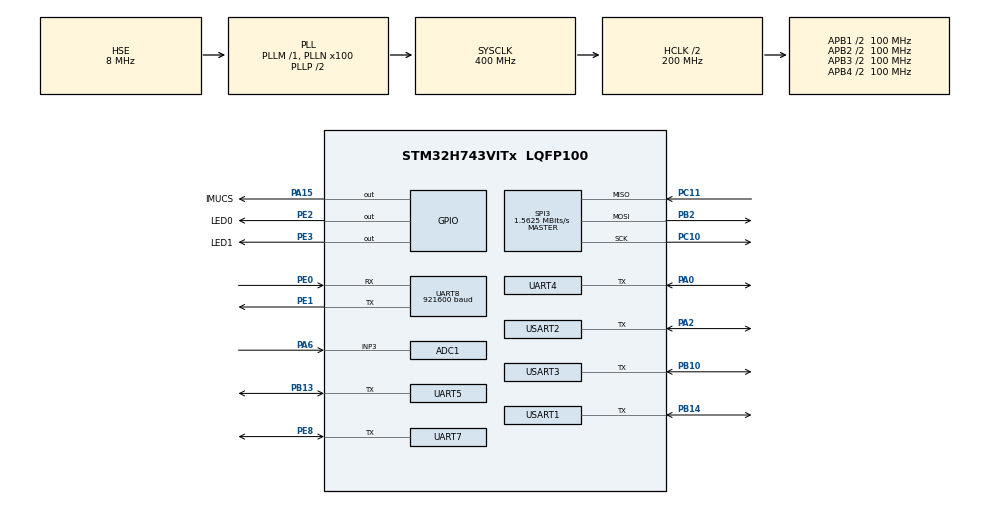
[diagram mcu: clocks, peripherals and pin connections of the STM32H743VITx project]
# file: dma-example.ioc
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ADC1.Channel-0\#ChannelRegularConversion=ADC_CHANNEL_3
ADC1.ClockPrescaler=ADC_CLOCK_ASYNC_DIV6
ADC1.NbrOfConversionFlag=1
ADC1.OffsetNumber-0\#ChannelRegularConversion=ADC_OFFSET_NONE
ADC1.Rank-0\#ChannelRegularConversion=1
ADC1.SamplingTime-0\#ChannelRegularConversion=ADC_SAMPLETIME_1CYCLE_5
ADC1.master=1
CORTEX_M7.CPU_DCache=Enabled
CORTEX_M7.CPU_ICache=Enabled
Dma.Request0=UART8_RX
Dma.UART8_RX.0.Direction=DMA_PERIPH_TO_MEMORY
Dma.UART8_RX.0.EventEnable=DISABLE
Dma.UART8_RX.0.FIFOMode=DMA_FIFOMODE_DISABLE
Dma.UART8_RX.0.Instance=DMA1_Stream0
Dma.UART8_RX.0.MemDataAlignment=DMA_MDATAALIGN_BYTE
Dma.UART8_RX.0.MemInc=DMA_MINC_ENABLE
Dma.UART8_RX.0.Mode=DMA_CIRCULAR
Dma.UART8_RX.0.PeriphDataAlignment=DMA_PDATAALIGN_BYTE
Dma.UART8_RX.0.PeriphInc=DMA_PINC_DISABLE
Dma.UART8_RX.0.Polarity=HAL_DMAMUX_REQ_GEN_RISING
Dma.UART8_RX.0.Priority=DMA_PRIORITY_MEDIUM
Dma.UART8_RX.0.RequestNumber=1
Dma.UART8_RX.0.SignalID=NONE
Dma.UART8_RX.0.SyncEnable=DISABLE
Dma.UART8_RX.0.SyncPolarity=HAL_DMAMUX_SYNC_NO_EVENT
Dma.UART8_RX.0.SyncRequestNumber=1
Dma.UART8_RX.0.SyncSignalID=NONE
FREERTOS.MEMORY_ALLOCATION=0
FREERTOS.Queues01=J1vectorqueue,1,pvector,0,Dynamic,NULL,NULL;J2vectorqueue,1,pvector,0,Dynamic,NULL,NULL;J3vectorqueue,1,pvector,0,Dynamic,NULL,NULL;J4vectorqueue,1,pvector,0,Dynamic,NULL,NULL;J5vectorqueue,1,pvector,0,Dynamic,NULL,NULL;J6vectorqueue,1,pvector,0,Dynamic,NULL,NULL
FREERTOS.Tasks01=idleTask,-3,128,StartidleTask,As weak,NULL,Dynamic,NULL,NULL;LED1Task,-3,128,StartLED1Task,As weak,NULL,Dynamic,NULL,NULL;LED2Task,-3,128,StartLED2Task,As weak,NULL,Dynamic,NULL,NULL;J1uartport,-3,128,StartJ1uartport,As weak,NULL,Dynamic,NULL,NULL;J2uartport,-3,128,StartJ2uartport,As weak,NULL,Dynamic,NULL,NULL;J3uartport,-3,128,StartJ3uartport,As weak,NULL,Dynamic,NULL,NULL;J4uartport,-3,128,StartJ4uartport,As weak,NULL,Dynamic,NULL,NULL;J5uartport,-3,128,StartJ5uartport,As weak,NULL,Dynamic,NULL,NULL;J6uartport,-3,128,StartJ6uartport,As weak,NULL,Dynamic,NULL,NULL;ImuTask,-3,128,StartImuTask,As weak,NULL,Dynamic,NULL,NULL;ADCTask,-3,128,StartADCTask,As weak,NULL,Dynamic,NULL,NULL
Mcu.Family=STM32H7
Mcu.Name=STM32H743VITx
Mcu.Package=LQFP100
NVIC.PriorityGroup=NVIC_PRIORITYGROUP_4
NVIC.TIM4_IRQn=true\:0\:0\:false\:false\:true\:false\:false\:true
NVIC.TimeBase=TIM4_IRQn
NVIC.TimeBaseIP=TIM4
PA0.GPIO_PuPd=GPIO_PULLDOWN
PA0.GPIO_Speed=GPIO_SPEED_FREQ_HIGH
PA0.Mode=Half_duplex(single_wire_mode)
PA0.Signal=UART4_TX
PA15\ (JTDI).GPIO_Label=IMUCS
PA15\ (JTDI).Signal=GPIO_Output
PA2.GPIO_PuPd=GPIO_PULLDOWN
PA2.GPIO_Speed=GPIO_SPEED_FREQ_HIGH
PA2.Mode=Half_duplex(single_wire_mode)
PA2.Signal=USART2_TX
PA6.Signal=ADCx_INP3
PB10.GPIO_PuPd=GPIO_PULLDOWN
PB10.GPIO_Speed=GPIO_SPEED_FREQ_HIGH
PB10.Mode=Half_duplex(single_wire_mode)
PB10.Signal=USART3_TX
PB13.GPIO_PuPd=GPIO_PULLDOWN
PB13.GPIO_Speed=GPIO_SPEED_FREQ_HIGH
PB13.Mode=Half_duplex(single_wire_mode)
PB13.Signal=UART5_TX
PB14.GPIO_PuPd=GPIO_PULLDOWN
PB14.GPIO_Speed=GPIO_SPEED_FREQ_HIGH
PB14.Mode=Half_duplex(single_wire_mode)
PB14.Signal=USART1_TX
PB2.Mode=Full_Duplex_Master
PB2.Signal=SPI3_MOSI
PC10.Mode=Full_Duplex_Master
PC10.Signal=SPI3_SCK
PC11.Mode=Full_Duplex_Master
PC11.Signal=SPI3_MISO
PE0.GPIO_Speed=GPIO_SPEED_FREQ_VERY_HIGH
PE0.Mode=Asynchronous
PE0.Signal=UART8_RX
PE1.GPIO_Speed=GPIO_SPEED_FREQ_VERY_HIGH
PE1.Mode=Asynchronous
PE1.Signal=UART8_TX
PE2.GPIO_Label=LED0
PE2.GPIO_ModeDefaultOutputPP=GPIO_MODE_OUTPUT_OD
PE2.Signal=GPIO_Output
PE3.GPIO_Label=LED1
PE3.GPIO_ModeDefaultOutputPP=GPIO_MODE_OUTPUT_OD
PE3.Signal=GPIO_Output
PE8.GPIO_PuPd=GPIO_PULLDOWN
PE8.GPIO_Speed=GPIO_SPEED_FREQ_HIGH
PE8.Mode=Half_duplex(single_wire_mode)
PE8.Signal=UART7_TX
PH0-OSC_IN\ (PH0).Mode=HSE-External-Oscillator
PH0-OSC_IN\ (PH0).Signal=RCC_OSC_IN
PH1-OSC_OUT\ (PH1).Mode=HSE-External-Oscillator
PH1-OSC_OUT\ (PH1).Signal=RCC_OSC_OUT
ProjectManager.HeapSize=0x200
ProjectManager.StackSize=0x400
ProjectManager.TargetToolchain=STM32CubeIDE
RCC.ADCFreq_Value=152000000
RCC.APB1Freq_Value=100000000
RCC.APB2Freq_Value=100000000
RCC.APB3Freq_Value=100000000
RCC.APB4Freq_Value=100000000
RCC.CortexFreq_Value=400000000
RCC.D1PPRE=RCC_APB3_DIV2
RCC.D2PPRE1=RCC_APB1_DIV2
RCC.D2PPRE2=RCC_APB2_DIV2
RCC.D3PPRE=RCC_APB4_DIV2
RCC.DIVM1=1
RCC.DIVM2=1
RCC.DIVN1=100
RCC.DIVN2=19
RCC.DIVP2=1
RCC.FLatency=FLASH_LATENCY_2
RCC.HCLKFreq_Value=200000000
RCC.HPRE=RCC_HCLK_DIV2
RCC.HSE_VALUE=8000000
RCC.PLLSourceVirtual=RCC_PLLSOURCE_HSE
RCC.PWR_Regulator_Voltage_Scale=PWR_REGULATOR_VOLTAGE_SCALE1
RCC.SYSCLKFreq_VALUE=400000000
RCC.SYSCLKSource=RCC_SYSCLKSOURCE_PLLCLK
RCC.USBFreq_Value=400000000
SH.ADCx_INP3.0=ADC1_INP3,IN3-Single-Ended
SPI3.BaudRatePrescaler=SPI_BAUDRATEPRESCALER_256
SPI3.CalculateBaudRate=1.5625 MBits/s
SPI3.DataSize=SPI_DATASIZE_8BIT
SPI3.Direction=SPI_DIRECTION_2LINES
SPI3.Mode=SPI_MODE_MASTER
SPI3.VirtualType=VM_MASTER
UART4.BaudRate=1250000
UART4.FIFOMode=FIFOMODE_ENABLE
UART4.Parity=PARITY_EVEN
UART4.RXFIFOThreshold=RXFIFO_THRESHOLD_FULL
UART4.WordLength=WORDLENGTH_9B
UART5.BaudRate=1250000
UART5.FIFOMode=FIFOMODE_ENABLE
UART5.Parity=PARITY_EVEN
UART5.RXFIFOThreshold=RXFIFO_THRESHOLD_FULL
UART5.WordLength=WORDLENGTH_9B
UART7.BaudRate=1250000
UART7.FIFOMode=FIFOMODE_ENABLE
UART7.Parity=PARITY_EVEN
UART7.RXFIFOThreshold=RXFIFO_THRESHOLD_FULL
UART7.WordLength=WORDLENGTH_9B
UART8.BaudRate=921600
UART8.DMADisableonRxErrorParam=UART_ADVFEATURE_DMA_DISABLEONRXERROR
UART8.FIFOMode=FIFOMODE_DISABLE
UART8.Mode=MODE_TX_RX
UART8.OneBitSampling=UART_ONE_BIT_SAMPLE_DISABLE
UART8.OverSampling=UART_OVERSAMPLING_16
UART8.OverrunDisableParam=UART_ADVFEATURE_OVERRUN_ENABLE
UART8.Parity=PARITY_NONE
UART8.RXFIFOThreshold=RXFIFO_THRESHOLD_FULL
UART8.SwapParam=UART_ADVFEATURE_SWAP_ENABLE
UART8.TXFIFOThreshold=TXFIFO_THRESHOLD_EMPTY
UART8.WordLength=WORDLENGTH_8B
USART1.BaudRate=1250000
USART1.FIFOMode=FIFOMODE_ENABLE
USART1.RXFIFOThreshold=RXFIFO_THRESHOLD_FULL
USART1.VirtualMode-Half_duplex(single_wire_mode)=VM_ASYNC
USART1.WordLength=WORDLENGTH_9B
USART2.BaudRate=1250000
USART2.FIFOMode=FIFOMODE_ENABLE
USART2.Parity=PARITY_EVEN
USART2.RXFIFOThreshold=RXFIFO_THRESHOLD_FULL
USART2.VirtualMode-Half_duplex(single_wire_mode)=VM_ASYNC
USART2.WordLength=WORDLENGTH_9B
USART3.BaudRate=1250000
USART3.FIFOMode=FIFOMODE_ENABLE
USART3.Parity=PARITY_EVEN
USART3.RXFIFOThreshold=RXFIFO_THRESHOLD_FULL
USART3.VirtualMode-Half_duplex(single_wire_mode)=VM_ASYNC
USART3.WordLength=WORDLENGTH_9B
VP_FREERTOS_VS_CMSIS_V1.Mode=CMSIS_V1
VP_SYS_VS_tim4.Mode=TIM4
board=custom

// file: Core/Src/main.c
/* USER CODE BEGIN Header */
/**
  ******************************************************************************
  * @file           : main.c
  * @brief          : Main program body
  ******************************************************************************
  * @attention
  *
  * <h2><center>&copy; Copyright (c) 2020 STMicroelectronics.
  * All rights reserved.</center></h2>
  *
  * This software component is licensed by ST under Ultimate Liberty license
  * SLA0044, the "License"; You may not use this file except in compliance with
  * the License. You may obtain a copy of the License at:
  *                             www.st.com/SLA0044
  *
  ******************************************************************************
  */
/* USER CODE END Header */

#include "main.h"
#include "cmsis_os.h"
#include "adc.h"
#include "dma.h"
#include "spi.h"
#include "usart.h"
#include "gpio.h"

void SystemClock_Config(void);
void MX_FREERTOS_Init(void);

int main(void)
{

  /* MCU Configuration--------------------------------------------------------*/

  /* Reset of all peripherals, Initializes the Flash interface and the Systick. */
  HAL_Init();

  /* Configure the system clock */
  SystemClock_Config();

  /* Initialize all configured peripherals */
  MX_GPIO_Init();
  MX_DMA_Init();
  MX_ADC1_Init();
  MX_SPI3_Init();
  MX_UART4_Init();
  MX_UART5_Init();
  MX_UART7_Init();
  MX_UART8_Init();
  MX_USART1_UART_Init();
  MX_USART2_UART_Init();
  MX_USART3_UART_Init();
  /* USER CODE BEGIN 2 */
  msgrx_init(&huart8);
  /* USER CODE END 2 */

  /* Call init function for freertos objects (in freertos.c) */
  MX_FREERTOS_Init();
  /* Start scheduler */
  osKernelStart();

  /* We should never get here as control is now taken by the scheduler */
  /* Infinite loop */
  while (1)
  {

  }
}

void SystemClock_Config(void)
{
  RCC_OscInitTypeDef RCC_OscInitStruct = {0};
  RCC_ClkInitTypeDef RCC_ClkInitStruct = {0};
  RCC_PeriphCLKInitTypeDef PeriphClkInitStruct = {0};

  /** Supply configuration update enable
  */
  HAL_PWREx_ConfigSupply(PWR_LDO_SUPPLY);
  /** Configure the main internal regulator output voltage
  */
  __HAL_PWR_VOLTAGESCALING_CONFIG(PWR_REGULATOR_VOLTAGE_SCALE1);

  while(!__HAL_PWR_GET_FLAG(PWR_FLAG_VOSRDY)) {}
  /** Macro to configure the PLL clock source
  */
  __HAL_RCC_PLL_PLLSOURCE_CONFIG(RCC_PLLSOURCE_HSE);
  /** Initializes the CPU, AHB and APB busses clocks
  */
  RCC_OscInitStruct.OscillatorType = RCC_OSCILLATORTYPE_HSE;
  RCC_OscInitStruct.HSEState = RCC_HSE_ON;
  RCC_OscInitStruct.PLL.PLLState = RCC_PLL_ON;
  RCC_OscInitStruct.PLL.PLLSource = RCC_PLLSOURCE_HSE;
  RCC_OscInitStruct.PLL.PLLM = 1;
  RCC_OscInitStruct.PLL.PLLN = 100;
  RCC_OscInitStruct.PLL.PLLP = 2;
  RCC_OscInitStruct.PLL.PLLQ = 2;
  RCC_OscInitStruct.PLL.PLLR = 2;
  RCC_OscInitStruct.PLL.PLLRGE = RCC_PLL1VCIRANGE_3;
  RCC_OscInitStruct.PLL.PLLVCOSEL = RCC_PLL1VCOWIDE;
  RCC_OscInitStruct.PLL.PLLFRACN = 0;
  if (HAL_RCC_OscConfig(&RCC_OscInitStruct) != HAL_OK)
  {
    Error_Handler();
  }
  /** Initializes the CPU, AHB and APB busses clocks
  */
  RCC_ClkInitStruct.ClockType = RCC_CLOCKTYPE_HCLK|RCC_CLOCKTYPE_SYSCLK
                              |RCC_CLOCKTYPE_PCLK1|RCC_CLOCKTYPE_PCLK2
                              |RCC_CLOCKTYPE_D3PCLK1|RCC_CLOCKTYPE_D1PCLK1;
  RCC_ClkInitStruct.SYSCLKSource = RCC_SYSCLKSOURCE_PLLCLK;
  RCC_ClkInitStruct.SYSCLKDivider = RCC_SYSCLK_DIV1;
  RCC_ClkInitStruct.AHBCLKDivider = RCC_HCLK_DIV2;
  RCC_ClkInitStruct.APB3CLKDivider = RCC_APB3_DIV2;
  RCC_ClkInitStruct.APB1CLKDivider = RCC_APB1_DIV2;
  RCC_ClkInitStruct.APB2CLKDivider = RCC_APB2_DIV2;
  RCC_ClkInitStruct.APB4CLKDivider = RCC_APB4_DIV2;

  if (HAL_RCC_ClockConfig(&RCC_ClkInitStruct, FLASH_LATENCY_2) != HAL_OK)
  {
    Error_Handler();
  }
  PeriphClkInitStruct.PeriphClockSelection = RCC_PERIPHCLK_USART3|RCC_PERIPHCLK_USART2
                              |RCC_PERIPHCLK_UART4|RCC_PERIPHCLK_UART7
                              |RCC_PERIPHCLK_USART1|RCC_PERIPHCLK_UART8
                              |RCC_PERIPHCLK_UART5|RCC_PERIPHCLK_SPI3
                              |RCC_PERIPHCLK_ADC;
  PeriphClkInitStruct.PLL2.PLL2M = 1;
  PeriphClkInitStruct.PLL2.PLL2N = 19;
  PeriphClkInitStruct.PLL2.PLL2P = 1;
  PeriphClkInitStruct.PLL2.PLL2Q = 2;
  PeriphClkInitStruct.PLL2.PLL2R = 2;
  PeriphClkInitStruct.PLL2.PLL2RGE = RCC_PLL2VCIRANGE_3;
  PeriphClkInitStruct.PLL2.PLL2VCOSEL = RCC_PLL2VCOMEDIUM;
  PeriphClkInitStruct.PLL2.PLL2FRACN = 0;
  PeriphClkInitStruct.Spi123ClockSelection = RCC_SPI123CLKSOURCE_PLL;
  PeriphClkInitStruct.Usart234578ClockSelection = RCC_USART234578CLKSOURCE_D2PCLK1;
  PeriphClkInitStruct.Usart16ClockSelection = RCC_USART16CLKSOURCE_D2PCLK2;
  PeriphClkInitStruct.AdcClockSelection = RCC_ADCCLKSOURCE_PLL2;
  if (HAL_RCCEx_PeriphCLKConfig(&PeriphClkInitStruct) != HAL_OK)
  {
    Error_Handler();
  }
}

 /**
  * @brief  Period elapsed callback in non blocking mode
  * @note   This function is called  when TIM4 interrupt took place, inside
  * HAL_TIM_IRQHandler(). It makes a direct call to HAL_IncTick() to increment
  * a global variable "uwTick" used as application time base.
  * @param  htim : TIM handle
  * @retval None
  */
void HAL_TIM_PeriodElapsedCallback(TIM_HandleTypeDef *htim)
{
  if (htim->Instance == TIM4) {
    HAL_IncTick();
  }
}

void Error_Handler(void)
{
}

/************************ (C) COPYRIGHT STMicroelectronics *****END OF FILE****/

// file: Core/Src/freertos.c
/* USER CODE BEGIN Header */
/**
  ******************************************************************************
  * File Name          : freertos.c
  * Description        : Code for freertos applications
  ******************************************************************************
  * @attention
  *
  * <h2><center>&copy; Copyright (c) 2020 STMicroelectronics.
  * All rights reserved.</center></h2>
  *
  * This software component is licensed by ST under Ultimate Liberty license
  * SLA0044, the "License"; You may not use this file except in compliance with
  * the License. You may obtain a copy of the License at:
  *                             www.st.com/SLA0044
  *
  ******************************************************************************
  */
/* USER CODE END Header */

#include "FreeRTOS.h"
#include "task.h"
#include "main.h"
#include "cmsis_os.h"

/* USER CODE BEGIN Includes */
#include <stdbool.h>
#include "usart.h"
/* USER CODE END Includes */

/* USER CODE BEGIN PTD */
// every uart port have a portvector queue...
typedef struct Portvector
{
  uint8_t servonum;
  uint16_t angle[18]; // 7500 +/-3500 (3000 - 12000)
  uint8_t active[18]; // active or not
  uint16_t rangle[18]; // read angle
}
pvector;
/* USER CODE END PTD */

/* USER CODE BEGIN PD */
// this must be 16 due to the dma and usart hardware restriction? might be wrong
#define RX_CIRC_BUF_SZ (256)
#define UART8BYTES (sizeof(pvector)+2)

// #define [header name] [code] // [extra receive bytes] [send back bytes] [kind]
#define SCHEADER 0xF8  // 0 4 servo_idmode_scan
#define RXHEADER 0xF7  // 0 74 Current servo vector
#define RCHEADER 0xF6  // 0 pc_rx_buff[1] + 5 Remocon data
#define IMHEADER 0xF5  // 0 20 IMU data
#define PMHEADER 0xF4  // 0 110 servo's flag
#define SPMHEADER 0xF3 // 0 66 servo's 64 parameter bytes
#define BAHEADER 0xF2  // 5 8 balance
#define TVHEADER 0xF1  // 72 74 Trim vector
#define TMHEADER 0xF0  // 0 30 get time info
#define COHEADER 0xEF  // 0 78 get control data
#define GAHEADER 0xEE  // 28 30 gain parameters
#define RFHEADER 0xED  // 0 3 rom_to_flash command
#define FRHEADER 0xEC  // 0 3 flash_to_rom command
#define ADHEADER 0xEB  // 0 4 ADC command
// s is the number of attached sensors (summary: s * 9 + 1 < sendbytes < s * 38 + 1)
#define JSHEADER 0xEA  // 0 s * (9 + [sum of the following bytes]) + 1 jointbase_sensorboard command
#define JS_SW 0x01     // 0 1 jointbase_sensorboard subcommand switch bit
#define JS_ADC 0x02    // 0 8 jointbase_sensorboard subcommand adc bit
#define JS_PS 0x04     // 0 8 jointbase_sensorboard subcommand proximity sensor bit
#define JS_GYRO 0x08   // 0 6 jointbase_sensorboard subcommand gyro bit
#define JS_ACC 0x10    // 0 6 jointbase_sensorboard subcommand acc bit
#define TSHEADER 0xE8  // 65 80
/* USER CODE END PD */

/* USER CODE BEGIN PM */
#define RX_DMA_WRITE_IDX ( (RX_CIRC_BUF_SZ - ((DMA_Stream_TypeDef *)huart_cobs->hdmarx->Instance)->NDTR) & (RX_CIRC_BUF_SZ - 1) )
/* USER CODE END PM */

/* USER CODE BEGIN Variables */
static uint8_t rx_dma_circ_buf[RX_CIRC_BUF_SZ];
static UART_HandleTypeDef *huart_cobs;
static volatile uint32_t rd_idx;
static uint8_t dma_char;
uint8_t tx_buff[256] = {0};
/*!
 * @brief rx header and data
 * The first two bytes data from PC is the communication header.
 * After that, fixed number of bytes will be sent.
 * if header_received is true, it means the microprocessor is receiving data associated with the header.
 * if header_received is false, it means the microprocessor is receiving header.
 */

static uint8_t pc_rx_buff[UART8BYTES] = {0};
static uint32_t pc_rx_buff_idx = 0;
typedef enum RXCommState
{
  RX_HEADER_RECEIVING = 0,
  RX_DATA_RECEIVING,
  RX_READY // data prepared
} rx_comm_state_t;
static rx_comm_state_t rx_comm_state = RX_HEADER_RECEIVING;

/* USER CODE END Variables */
osThreadId idleTaskHandle;
osThreadId LED1TaskHandle;
osThreadId LED2TaskHandle;
osThreadId J1uartportHandle;
osThreadId J2uartportHandle;
osThreadId J3uartportHandle;
osThreadId J4uartportHandle;
osThreadId J5uartportHandle;
osThreadId J6uartportHandle;
osThreadId ImuTaskHandle;
osThreadId ADCTaskHandle;
osMessageQId J1vectorqueueHandle;
osMessageQId J2vectorqueueHandle;
osMessageQId J3vectorqueueHandle;
osMessageQId J4vectorqueueHandle;
osMessageQId J5vectorqueueHandle;
osMessageQId J6vectorqueueHandle;

/* USER CODE BEGIN FunctionPrototypes */
void msgrx_init(UART_HandleTypeDef *huart);
static bool msgrx_circ_buf_is_empty(void);
static uint8_t msgrx_circ_buf_get(void);
static void process_pc_rx_buff(void);
static uint32_t get_rx_data_length_from_rx_header(void);
static void process_pc_rx_1byte(uint8_t c);
/* USER CODE END FunctionPrototypes */

void StartidleTask(void const * argument);
void StartLED1Task(void const * argument);
void StartLED2Task(void const * argument);
void StartJ1uartport(void const * argument);
void StartJ2uartport(void const * argument);
void StartJ3uartport(void const * argument);
void StartJ4uartport(void const * argument);
void StartJ5uartport(void const * argument);
void StartJ6uartport(void const * argument);
void StartImuTask(void const * argument);
void StartADCTask(void const * argument);

void MX_FREERTOS_Init(void); /* (MISRA C 2004 rule 8.1) */

void MX_FREERTOS_Init(void) {

  /* Create the queue(s) */
  /* definition and creation of J1vectorqueue */
  osMessageQDef(J1vectorqueue, 1, pvector);
  J1vectorqueueHandle = osMessageCreate(osMessageQ(J1vectorqueue), NULL);

  /* definition and creation of J2vectorqueue */
  osMessageQDef(J2vectorqueue, 1, pvector);
  J2vectorqueueHandle = osMessageCreate(osMessageQ(J2vectorqueue), NULL);

  /* definition and creation of J3vectorqueue */
  osMessageQDef(J3vectorqueue, 1, pvector);
  J3vectorqueueHandle = osMessageCreate(osMessageQ(J3vectorqueue), NULL);

  /* definition and creation of J4vectorqueue */
  osMessageQDef(J4vectorqueue, 1, pvector);
  J4vectorqueueHandle = osMessageCreate(osMessageQ(J4vectorqueue), NULL);

  /* definition and creation of J5vectorqueue */
  osMessageQDef(J5vectorqueue, 1, pvector);
  J5vectorqueueHandle = osMessageCreate(osMessageQ(J5vectorqueue), NULL);

  /* definition and creation of J6vectorqueue */
  osMessageQDef(J6vectorqueue, 1, pvector);
  J6vectorqueueHandle = osMessageCreate(osMessageQ(J6vectorqueue), NULL);

  /* Create the thread(s) */
  /* definition and creation of idleTask */
  osThreadDef(idleTask, StartidleTask, osPriorityIdle, 0, 128);
  idleTaskHandle = osThreadCreate(osThread(idleTask), NULL);

  /* definition and creation of LED1Task */
  osThreadDef(LED1Task, StartLED1Task, osPriorityIdle, 0, 128);
  LED1TaskHandle = osThreadCreate(osThread(LED1Task), NULL);

  /* definition and creation of LED2Task */
  osThreadDef(LED2Task, StartLED2Task, osPriorityIdle, 0, 128);
  LED2TaskHandle = osThreadCreate(osThread(LED2Task), NULL);

  /* definition and creation of J1uartport */
  osThreadDef(J1uartport, StartJ1uartport, osPriorityIdle, 0, 128);
  J1uartportHandle = osThreadCreate(osThread(J1uartport), NULL);

  /* definition and creation of J2uartport */
  osThreadDef(J2uartport, StartJ2uartport, osPriorityIdle, 0, 128);
  J2uartportHandle = osThreadCreate(osThread(J2uartport), NULL);

  /* definition and creation of J3uartport */
  osThreadDef(J3uartport, StartJ3uartport, osPriorityIdle, 0, 128);
  J3uartportHandle = osThreadCreate(osThread(J3uartport), NULL);

  /* definition and creation of J4uartport */
  osThreadDef(J4uartport, StartJ4uartport, osPriorityIdle, 0, 128);
  J4uartportHandle = osThreadCreate(osThread(J4uartport), NULL);

  /* definition and creation of J5uartport */
  osThreadDef(J5uartport, StartJ5uartport, osPriorityIdle, 0, 128);
  J5uartportHandle = osThreadCreate(osThread(J5uartport), NULL);

  /* definition and creation of J6uartport */
  osThreadDef(J6uartport, StartJ6uartport, osPriorityIdle, 0, 128);
  J6uartportHandle = osThreadCreate(osThread(J6uartport), NULL);

  /* definition and creation of ImuTask */
  osThreadDef(ImuTask, StartImuTask, osPriorityIdle, 0, 128);
  ImuTaskHandle = osThreadCreate(osThread(ImuTask), NULL);

  /* definition and creation of ADCTask */
  osThreadDef(ADCTask, StartADCTask, osPriorityIdle, 0, 128);
  ADCTaskHandle = osThreadCreate(osThread(ADCTask), NULL);

}

__weak void StartidleTask(void const * argument)
{
  /* USER CODE BEGIN StartidleTask */
  /* Infinite loop */
  for(;;)
  {
    // ITM_SendChar('a');
    // ITM_SendChar('\r');
    // ITM_SendChar('\n');
    //! @todo implement timeout feature.
    while (!msgrx_circ_buf_is_empty()) {
      dma_char = msgrx_circ_buf_get();
      process_pc_rx_1byte(dma_char);
      if (rx_comm_state == RX_READY) {
        process_pc_rx_buff();
        rx_comm_state = RX_HEADER_RECEIVING;
      }
    }
    osDelay(1);
  }
  /* USER CODE END StartidleTask */
}

__weak void StartLED1Task(void const * argument)
{
  /* USER CODE BEGIN StartLED1Task */
  /* Infinite loop */
  for(;;)
  {
    HAL_GPIO_TogglePin(LED0_GPIO_Port,LED0_Pin);
    osDelay(300);
  }
  /* USER CODE END StartLED1Task */
}

__weak void StartLED2Task(void const * argument)
{
  /* USER CODE BEGIN StartLED2Task */
  /* Infinite loop */
  for(;;)
  {
  HAL_GPIO_TogglePin(LED1_GPIO_Port,LED1_Pin);
  osDelay(600);
  }
  /* USER CODE END StartLED2Task */
}

__weak void StartJ1uartport(void const * argument)
{
  for(;;)
  {
    osDelay(1);
  }
}

__weak void StartJ2uartport(void const * argument)
{
  for(;;)
  {
    osDelay(1);
  }
}

__weak void StartJ3uartport(void const * argument)
{
  for(;;)
  {
    osDelay(1);
  }
}

__weak void StartJ4uartport(void const * argument)
{
  for(;;)
  {
    osDelay(1);
  }
}

__weak void StartJ5uartport(void const * argument)
{
  for(;;)
  {
    osDelay(1);
  }
}

__weak void StartJ6uartport(void const * argument)
{
  for(;;)
  {
    osDelay(1);
  }
}

__weak void StartImuTask(void const * argument)
{
  for(;;)
  {
    osDelay(1);
  }
}

__weak void StartADCTask(void const * argument)
{
  for(;;)
  {
    osDelay(1);
  }
}

/* USER CODE BEGIN Application */
void msgrx_init(UART_HandleTypeDef *huart)
{
    huart_cobs = huart;
    HAL_UART_Receive_DMA(huart_cobs, rx_dma_circ_buf, RX_CIRC_BUF_SZ);
    rd_idx = 0;
}
static bool msgrx_circ_buf_is_empty(void) {
    return rd_idx == RX_DMA_WRITE_IDX;
}
static uint8_t msgrx_circ_buf_get(void) {
    uint8_t c = 0;
    if(!msgrx_circ_buf_is_empty()) {
        c = rx_dma_circ_buf[rd_idx++];
        rd_idx &= (RX_CIRC_BUF_SZ - 1);
    }
    return c;
}

static void process_pc_rx_1byte(uint8_t c)
{
  switch(rx_comm_state)
  {
  case RX_HEADER_RECEIVING:
    pc_rx_buff[pc_rx_buff_idx++] = c;
    if (pc_rx_buff_idx == 2) {
      rx_comm_state = RX_DATA_RECEIVING;
      if (get_rx_data_length_from_rx_header() == 2) {
        rx_comm_state = RX_READY;
      }
    }
    break;
  case RX_DATA_RECEIVING:
    pc_rx_buff[pc_rx_buff_idx++] = c;
    if (pc_rx_buff_idx == get_rx_data_length_from_rx_header()) {
      rx_comm_state = RX_READY;
      pc_rx_buff_idx = 0;
    }
    break;
  case RX_READY:
    // should not enter here
    break;
  default:
    // should not enter here
    break;
  }
}

// call when rx_header[2] is ready (rx_comm_state == RX_DATA_RECEIVING)
static uint32_t get_rx_data_length_from_rx_header(void)
{
  switch (pc_rx_buff[0])
  {
  case BAHEADER:
    return 7;
  case TVHEADER:
     return 74;
  case GAHEADER:
    return 30;
  case TSHEADER: // m-hattori test
    return 67;
  default:
    return 2;
  }
}

static void process_pc_rx_buff(void)
{

  switch(pc_rx_buff[0])
  {
  case SCHEADER:
    HAL_UART_Transmit(&huart8, tx_buff, 4, HAL_MAX_DELAY);
    break;
  case RXHEADER:
    HAL_UART_Transmit(&huart8, tx_buff, 74, HAL_MAX_DELAY);
    break;
  case RCHEADER:
    HAL_UART_Transmit(&huart8, tx_buff, pc_rx_buff[1] + 5, HAL_MAX_DELAY);
    break;
  case IMHEADER:
    tx_buff[0] = 20;
    HAL_UART_Transmit(&huart8, tx_buff, 20, HAL_MAX_DELAY);
    break;
  case PMHEADER:
    HAL_UART_Transmit(&huart8, tx_buff, 110, HAL_MAX_DELAY);
    break;
  case SPMHEADER:
    HAL_UART_Transmit(&huart8, tx_buff, 66, HAL_MAX_DELAY);
    break;
  case BAHEADER:
    HAL_UART_Transmit(&huart8, tx_buff, 8, HAL_MAX_DELAY);
    break;
  case TVHEADER:
	 tx_buff[0] = 74;
	 tx_buff[73] = 74;
    HAL_UART_Transmit(&huart8, tx_buff, 74, HAL_MAX_DELAY);
    break;
  case TMHEADER:
    HAL_UART_Transmit(&huart8, tx_buff, 30, HAL_MAX_DELAY);
    break;
  case COHEADER:
    HAL_UART_Transmit(&huart8, tx_buff, 78, HAL_MAX_DELAY);
    break;
  case GAHEADER:
    HAL_UART_Transmit(&huart8, tx_buff, 30, HAL_MAX_DELAY);
    break;
  case RFHEADER:
    HAL_UART_Transmit(&huart8, tx_buff, 3, HAL_MAX_DELAY);
    break;
  case FRHEADER:
    HAL_UART_Transmit(&huart8, tx_buff, 3, HAL_MAX_DELAY);
    break;
  case ADHEADER:
    HAL_UART_Transmit(&huart8, tx_buff, 4, HAL_MAX_DELAY);
    break;
  case JSHEADER:
    HAL_UART_Transmit(&huart8, tx_buff, 77, HAL_MAX_DELAY);
    break;
  case TSHEADER: // m-hattori test
    for (size_t i = 0; i < 80; i++) {
        tx_buff[i] = i + 1;
    }
    HAL_UART_Transmit(&huart8, tx_buff, 80, HAL_MAX_DELAY);
    break;
  default:
    break;
  }
}

/* USER CODE END Application */

/************************ (C) COPYRIGHT STMicroelectronics *****END OF FILE****/
